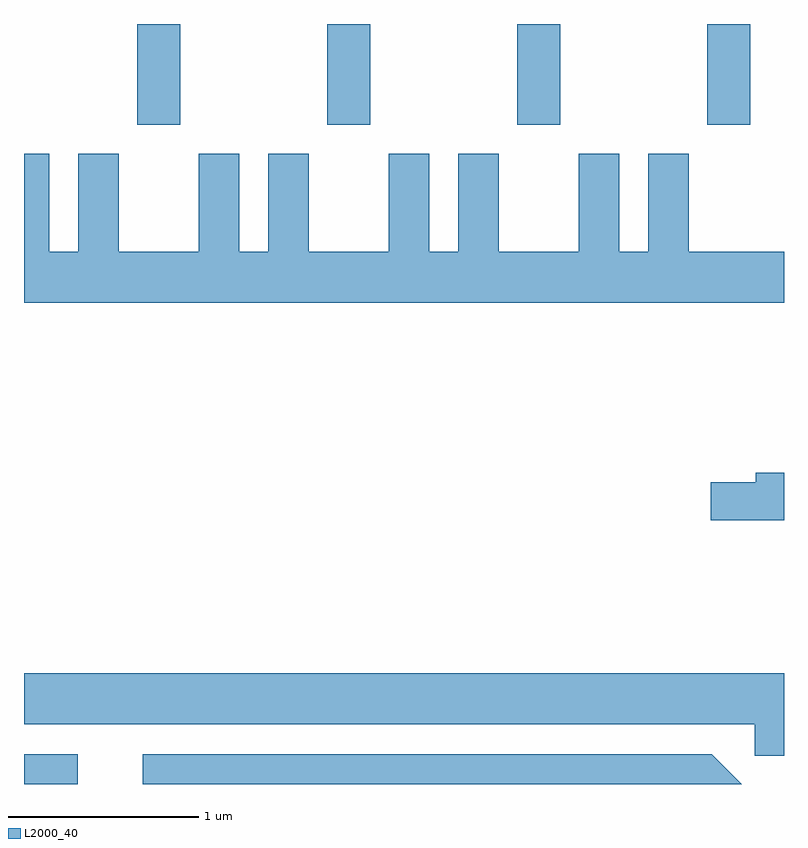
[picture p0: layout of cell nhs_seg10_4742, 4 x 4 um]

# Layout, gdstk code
import gdstk
lib = gdstk.Library(unit=1e-6, precision=1e-09)
def R(c, l, rs):  # rectangles x0, y0, x1, y1
    for r in rs: c.add(gdstk.rectangle(r[:2], r[2:], *l))
def A(c, l, x, y, w, h, nx, ny, dx, dy):  # array of equal rectangles
    R(c, l, [(x+i*dx, y+j*dy, x+i*dx+w, y+j*dy+h) for i in range(nx) for j in range(ny)])
def P(c, l, *ps):  # polygons
    for p in ps: c.add(gdstk.Polygon(p, *l))
L2000_40 = (2000, 40)

nhs_seg10_4742 = lib.new_cell('nhs_seg10_4742')
A(nhs_seg10_4742, L2000_40, 326.206, 2085.991, 0.228, 0.531, 4, 1, 1, 0)
R(nhs_seg10_4742, L2000_40, [(325.611,2082.522,325.894,2082.679)])
P(nhs_seg10_4742, L2000_40, [(329.611,2085.324),(329.109,2085.324),(329.109,2085.839),(328.896,2085.839),(328.896,2085.324),(328.744,2085.324),(328.744,2085.839),(328.531,2085.839),(328.531,2085.324),(328.109,2085.324),(328.109,2085.839),(327.896,2085.839),(327.896,2085.324),(327.744,2085.324),(327.744,2085.839),(327.531,2085.839),(327.531,2085.324),(327.109,2085.324),(327.109,2085.839),(326.896,2085.839),(326.896,2085.324),(326.744,2085.324),(326.744,2085.839),(326.531,2085.839),(326.531,2085.324),(326.109,2085.324),(326.109,2085.839),(325.896,2085.839),(325.896,2085.324),(325.744,2085.324),(325.744,2085.839),(325.611,2085.839),(325.611,2085.056),(329.611,2085.056)],
  [(329.611,2084.159),(329.461,2084.159),(329.461,2084.109),(329.226,2084.109),(329.226,2083.911),(329.611,2083.911)],
  [(329.611,2083.104),(325.611,2083.104),(325.611,2082.836),(329.456,2082.836),(329.456,2082.671),(329.611,2082.671)],
  [(329.232,2082.679),(326.236,2082.679),(326.236,2082.522),(329.389,2082.522)])

lib.write_gds('nhs_seg10_4742.gds')
